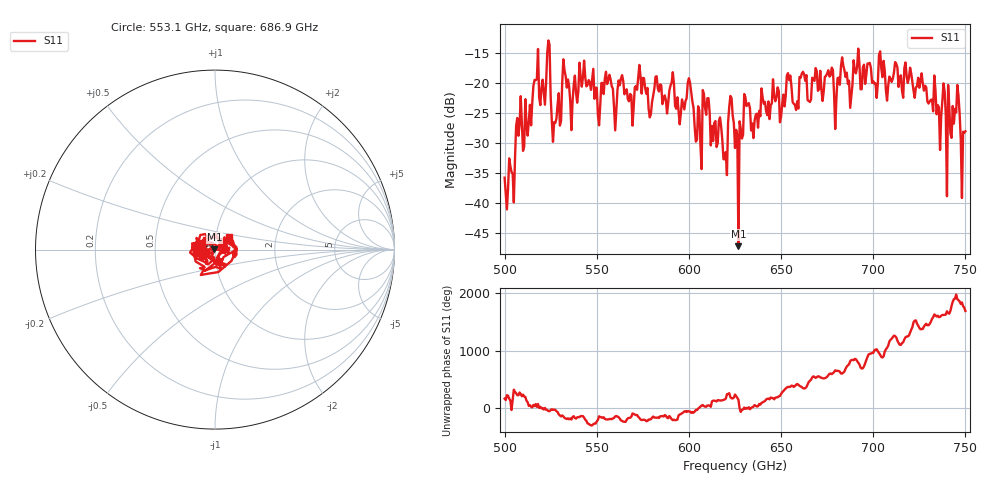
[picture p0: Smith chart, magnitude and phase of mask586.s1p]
!Created with skrf (http://scikit-rf.org).
# GHz S MA R 50.0
!freq magS11 angS11
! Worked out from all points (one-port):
!   401 points, 500 GHz to 750 GHz, reference 50 ohm
!   lowest |S11| = -47.2 dB at 626.9 GHz (marker M1), VSWR 1.01, Z = 49.7 + j0.264 ohm
!   |S11| at or under -10 dB: start of sweep to end of sweep
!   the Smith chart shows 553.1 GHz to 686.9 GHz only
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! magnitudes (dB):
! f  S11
! 500 GHz  -35.8
! 513.1 GHz  -26.5
! 516.9 GHz  -19.6
! 520.6 GHz  -19.5
! 523.8 GHz  -13.0
! 526.9 GHz  -26.6
! 531.2 GHz  -20.1
! 562.5 GHz  -20.5
! 579.4 GHz  -25.3
! 590.6 GHz  -20.0
! 593.8 GHz  -22.5
! 600.6 GHz  -20.1
! 605.6 GHz  -24.6
! 608.8 GHz  -24.2
! 619.4 GHz  -32.8
! 622.5 GHz  -22.2
! 625 GHz  -30.9
! 626.9 GHz  -47.2
! 631.2 GHz  -23.9
! 635 GHz  -29.3
! 656.2 GHz  -23.2
! 676.9 GHz  -18.8
! 680 GHz  -22.8
! 683.8 GHz  -17.2
! 687.5 GHz  -24.2
! 690.6 GHz  -18.5
! 718.8 GHz  -20.1
! 750 GHz  -28.1
